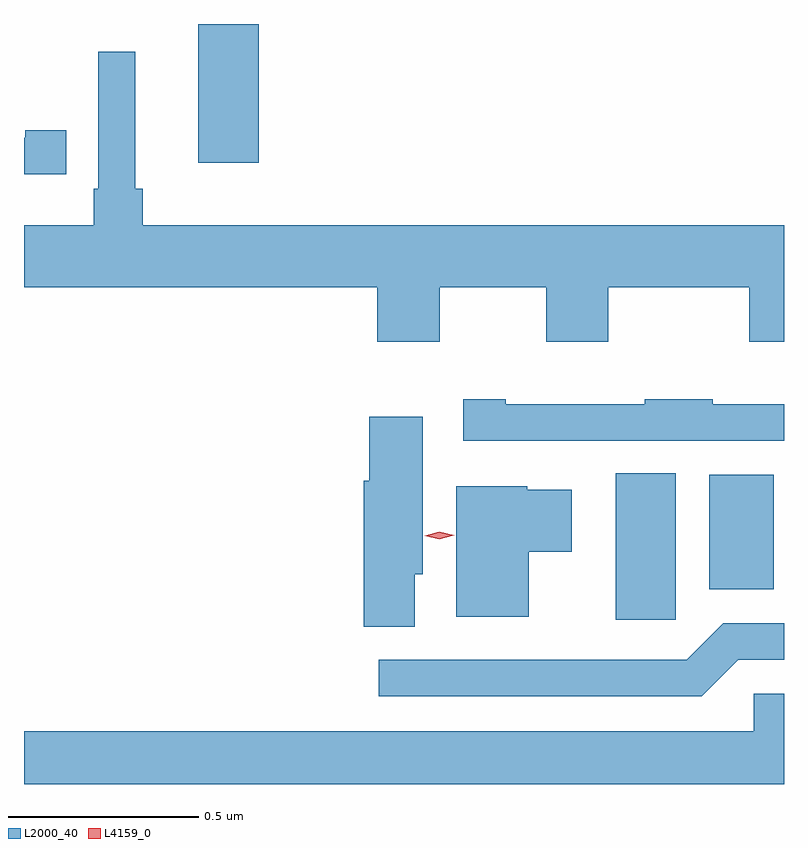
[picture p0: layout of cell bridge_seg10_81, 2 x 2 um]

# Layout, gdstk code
import gdstk
lib = gdstk.Library(unit=1e-6, precision=1e-09)
def R(c, l, rs):  # rectangles x0, y0, x1, y1
    for r in rs: c.add(gdstk.rectangle(r[:2], r[2:], *l))
def P(c, l, *ps):  # polygons
    for p in ps: c.add(gdstk.Polygon(p, *l))
L2000_40 = (2000, 40)
L4159_0 = (4159, 0)

bridge_seg10_81 = lib.new_cell('bridge_seg10_81')
R(bridge_seg10_81, L2000_40, [(675.038,1280.793,675.196,1281.179), (675.284,1280.873,675.454,1281.175), (673.94,1281.996,674.099,1282.361)])
P(bridge_seg10_81, L2000_40, [(674.575,1281.668),(674.855,1281.668),(674.855,1281.525),(675.019,1281.525),(675.019,1281.668),(675.389,1281.668),(675.389,1281.525),(675.481,1281.525),(675.481,1281.832),(673.793,1281.832),(673.793,1281.928),(673.774,1281.928),(673.774,1282.288),(673.677,1282.288),(673.677,1281.928),(673.664,1281.928),(673.664,1281.832),(673.481,1281.832),(673.481,1281.668),(674.411,1281.668),(674.411,1281.525),(674.575,1281.525)],
  [(673.484,1281.966),(673.592,1281.966),(673.592,1282.082),(673.484,1282.082),(673.484,1282.062),(673.481,1282.062),(673.481,1281.965),(673.484,1281.965)],
  [(675.481,1281.361),(675.293,1281.361),(675.293,1281.373),(675.115,1281.373),(675.115,1281.361),(674.749,1281.361),(674.749,1281.373),(674.637,1281.373),(674.637,1281.264),(675.481,1281.264)],
  [(674.509,1280.913),(674.53,1280.913),(674.53,1281.328),(674.39,1281.328),(674.39,1281.159),(674.375,1281.159),(674.375,1280.775),(674.509,1280.775)],
  [(674.809,1280.972),(674.923,1280.972),(674.923,1281.136),(674.805,1281.136),(674.805,1281.145),(674.618,1281.145),(674.618,1280.801),(674.809,1280.801)],
  [(675.36,1280.688),(675.481,1280.688),(675.481,1280.784),(675.321,1280.784),(675.225,1280.688),(674.415,1280.688),(674.415,1280.592),(675.264,1280.592)],
  [(675.481,1280.598),(675.402,1280.598),(675.402,1280.5),(673.481,1280.5),(673.481,1280.361),(675.481,1280.361)])
P(bridge_seg10_81, L4159_0, [(674.574,1281.005),(674.535,1281.014),(674.535,1281.014),(674.535,1281.014),(674.574,1281.025),(674.613,1281.015),(674.613,1281.015),(674.613,1281.015)])

lib.write_gds('bridge_seg10_81.gds')
